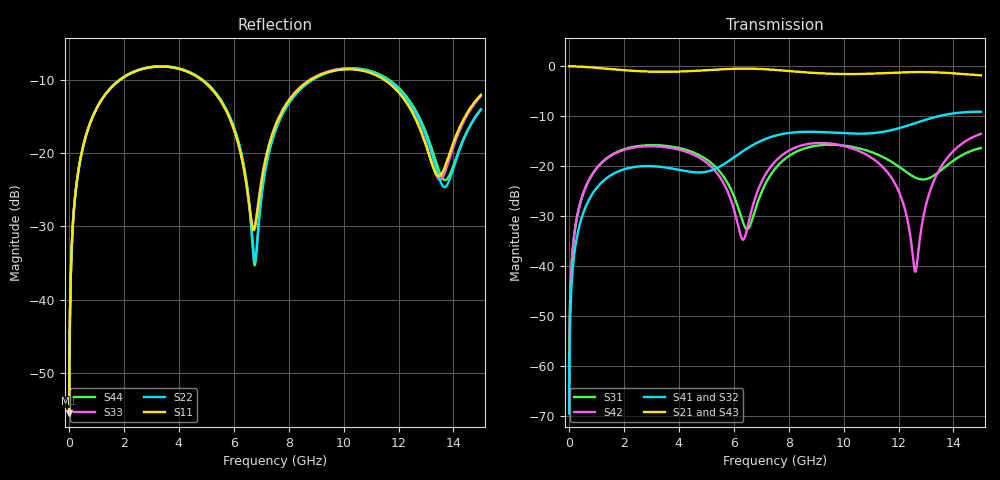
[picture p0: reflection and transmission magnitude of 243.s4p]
! Created with skrf 1.8.0 (http://scikit-rf.org).
# GHz S RI R 50.0
!freq ReS11 ImS11 ReS12 ImS12 ReS13 ImS13
! ReS14 ImS14
! ReS21 ImS21 ReS22 ImS22 ReS23 ImS23
! ReS24 ImS24
! ReS31 ImS31 ReS32 ImS32 ReS33 ImS33
! ReS34 ImS34
! ReS41 ImS41 ReS42 ImS42 ReS43 ImS43
! ReS44 ImS44
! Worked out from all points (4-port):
!   2499 points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, 5 MHz to 15 GHz, reference 50 ohm
!   strongest paths, dB at 5 MHz, 3.476 GHz, 7.19 GHz, 11.1 GHz, 15 GHz:
!     S21: 0.0, -1.1, -0.6, -1.5, -1.8
!     S43: 0.0, -1.1, -0.6, -1.5, -1.8
!     S41: -69.4, -20.2, -14.5, -13.4, -9.1
!     S32: -69.4, -20.2, -14.5, -13.4, -9.1
!     S42: -65.4, -16.2, -21.4, -18.6, -13.5
!     S31: -65.4, -15.9, -23.2, -17.4, -16.4
!   lowest |S11| = -55.5 dB at 5 MHz (marker M1), VSWR 1.00, Z = 50.1 + j0.101 ohm
!   |S11| at or under -10 dB: start of sweep to 1.843 GHz; 4.847 GHz to 8.787 GHz (3.939 GHz wide, 57.8 % of centre); 11.5 GHz to end of sweep
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0.005  0.00133 0.00101  0.9986 -0.00259  6.62e-05 0.000532  -6.43e-05 -0.000332
       0.9986 -0.00259  0.00133 0.00101  -6.43e-05 -0.000332  6.61e-05 0.000532
       6.62e-05 0.000532  -6.43e-05 -0.000332  0.00133 0.00101  0.9986 -0.00259
       -6.43e-05 -0.000332  6.61e-05 0.000532  0.9986 -0.00259  0.00133 0.00101
0.4126719  0.0258 0.0868  0.9642 -0.2116  0.0127 0.0412  -0.0103 -0.0254
           0.9642 -0.2116  0.0259 0.0868  -0.0103 -0.0254  0.0121 0.0414
           0.0127 0.0412  -0.0103 -0.0254  0.0258 0.0868  0.9642 -0.2116
           -0.0103 -0.0254  0.0121 0.0414  0.9642 -0.2116  0.0259 0.0867
2.025844  0.286 0.1722  0.5104 -0.7525  0.1387 0.0523  -0.0934 0.000604
          0.5104 -0.7525  0.288 0.1707  -0.0934 0.000665  0.1327 0.0613
          0.1387 0.0523  -0.0934 0.000665  0.2859 0.1722  0.5104 -0.7526
          -0.0934 0.000604  0.1327 0.0613  0.5104 -0.7526  0.288 0.1707
6.727803  0.0298 -0.000762  -0.9387 -0.0731  -0.0164 0.0283  -0.00874 0.1644
          -0.9387 -0.0731  0.018 -0.00927  -0.00764 0.1644  0.0259 0.0347
          -0.0164 0.0283  -0.00764 0.1644  0.0306 0.00111  -0.9387 -0.0723
          -0.00874 0.1644  0.0259 0.0347  -0.9387 -0.0723  0.0171 -0.00743
10.46686  0.3707 -0.0342  0.00806 0.8339  0.1171 -0.0985  0.2031 -0.0582
          0.00806 0.8339  0.3745 -0.0319  0.2027 -0.0599  0.1216 -0.0792
          0.1171 -0.0985  0.2027 -0.0599  0.3748 -0.0366  0.00757 0.8321
          0.2031 -0.0582  0.1216 -0.0792  0.00757 0.8321  0.3792 -0.0294
12.61776  0.1229 -0.1203  0.7224 0.4879  -0.0668 -0.038  0.1474 -0.2259
          0.7224 0.4879  0.1257 -0.1432  0.1456 -0.2274  -0.00881 -0.000203
          -0.0668 -0.038  0.1456 -0.2274  0.123 -0.1273  0.72 0.4894
          0.1474 -0.2259  -0.00881 -0.000203  0.72 0.4894  0.1335 -0.1452
15  0.2074 0.1411  0.6974 -0.4093  0.1104 0.1042  -0.2151 -0.2755
    0.6974 -0.4093  0.1595 0.1179  -0.2194 -0.2743  0.2026 0.0562
    0.1104 0.1042  -0.2194 -0.2743  0.2005 0.1418  0.6988 -0.4081
    -0.2151 -0.2755  0.2026 0.0562  0.6988 -0.4081  0.1645 0.113
